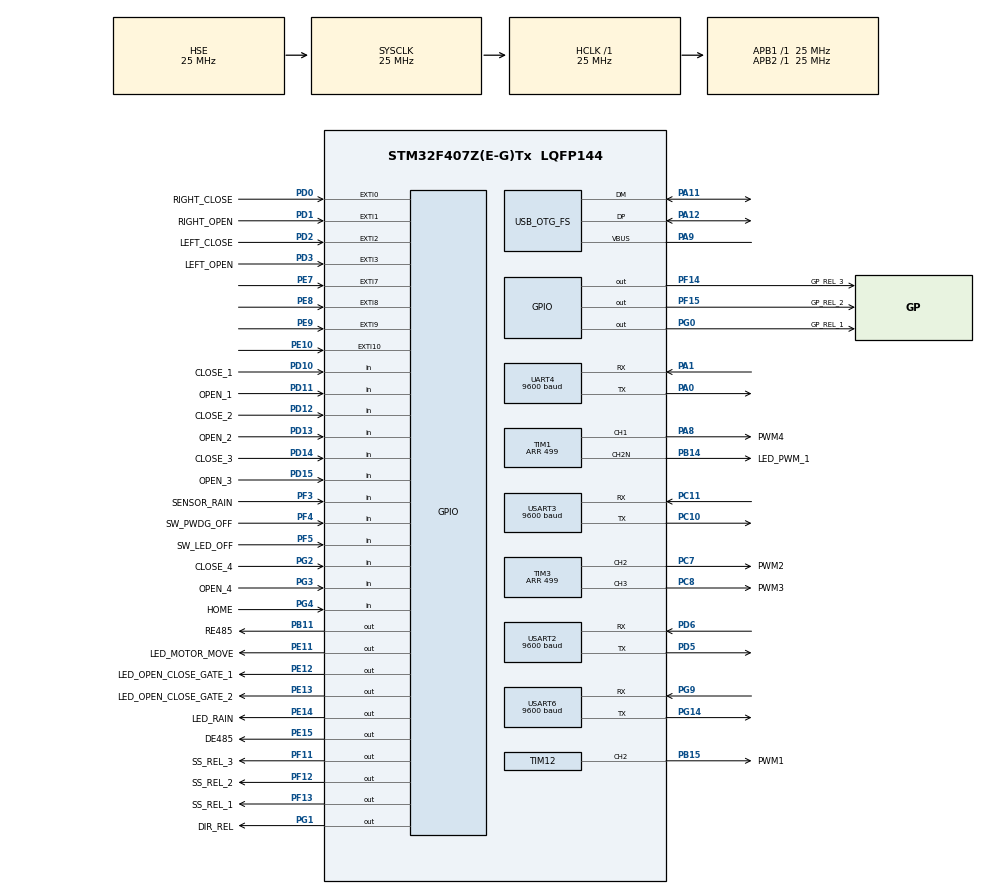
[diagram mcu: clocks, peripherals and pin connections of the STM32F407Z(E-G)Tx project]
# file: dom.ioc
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IWDG.Prescaler=IWDG_PRESCALER_128
Mcu.Family=STM32F4
Mcu.Name=STM32F407Z(E-G)Tx
Mcu.Package=LQFP144
NVIC.EXTI0_IRQn=true\:0\:0\:false\:false\:true\:true\:true\:true
NVIC.EXTI15_10_IRQn=true\:0\:0\:false\:false\:true\:true\:true\:true
NVIC.EXTI1_IRQn=true\:0\:0\:false\:false\:true\:true\:true\:true
NVIC.EXTI2_IRQn=true\:0\:0\:false\:false\:true\:true\:true\:true
NVIC.EXTI3_IRQn=true\:0\:0\:false\:false\:true\:true\:true\:true
NVIC.EXTI9_5_IRQn=true\:0\:0\:false\:false\:true\:true\:true\:true
NVIC.OTG_FS_IRQn=true\:0\:0\:false\:false\:true\:false\:true\:true
NVIC.PriorityGroup=NVIC_PRIORITYGROUP_4
NVIC.RCC_IRQn=true\:0\:0\:false\:false\:true\:true\:false\:true
NVIC.UART4_IRQn=true\:0\:0\:false\:false\:true\:true\:true\:true
NVIC.USART2_IRQn=true\:0\:0\:false\:false\:true\:true\:true\:true
NVIC.USART3_IRQn=true\:0\:0\:false\:false\:true\:true\:true\:true
NVIC.USART6_IRQn=true\:0\:0\:false\:false\:true\:true\:true\:true
PA0-WKUP.Mode=Asynchronous
PA0-WKUP.Signal=UART4_TX
PA1.Mode=Asynchronous
PA1.Signal=UART4_RX
PA11.Mode=Device_Only
PA11.Signal=USB_OTG_FS_DM
PA12.Mode=Device_Only
PA12.Signal=USB_OTG_FS_DP
PA8.GPIO_Label=PWM4
PA8.Signal=S_TIM1_CH1
PA9.Mode=Activate_VBUS
PA9.Signal=USB_OTG_FS_VBUS
PB11.GPIO_Label=RE485
PB11.Signal=GPIO_Output
PB14.GPIO_Label=LED_PWM_1
PB14.Mode=PWM Generation2 CH2N
PB14.Signal=TIM1_CH2N
PB15.GPIO_Label=PWM1
PB15.GPIO_Speed=GPIO_SPEED_FREQ_HIGH
PB15.Signal=S_TIM12_CH2
PC10.Mode=Asynchronous
PC10.Signal=USART3_TX
PC11.Mode=Asynchronous
PC11.Signal=USART3_RX
PC7.GPIO_Label=PWM2
PC7.Signal=S_TIM3_CH2
PC8.GPIO_Label=PWM3
PC8.Signal=S_TIM3_CH3
PD0.GPIO_Label=RIGHT_CLOSE
PD0.GPIO_ModeDefaultEXTI=GPIO_MODE_IT_FALLING
PD0.Signal=GPXTI0
PD1.GPIO_Label=RIGHT_OPEN
PD1.GPIO_ModeDefaultEXTI=GPIO_MODE_IT_FALLING
PD1.Signal=GPXTI1
PD10.GPIO_Label=CLOSE_1
PD10.Signal=GPIO_Input
PD11.GPIO_Label=OPEN_1
PD11.Signal=GPIO_Input
PD12.GPIO_Label=CLOSE_2
PD12.Signal=GPIO_Input
PD13.GPIO_Label=OPEN_2
PD13.Signal=GPIO_Input
PD14.GPIO_Label=CLOSE_3
PD14.Signal=GPIO_Input
PD15.GPIO_Label=OPEN_3
PD15.Signal=GPIO_Input
PD2.GPIO_Label=LEFT_CLOSE
PD2.GPIO_ModeDefaultEXTI=GPIO_MODE_IT_FALLING
PD2.Signal=GPXTI2
PD3.GPIO_Label=LEFT_OPEN
PD3.GPIO_ModeDefaultEXTI=GPIO_MODE_IT_FALLING
PD3.Signal=GPXTI3
PD5.Mode=Asynchronous
PD5.Signal=USART2_TX
PD6.Mode=Asynchronous
PD6.Signal=USART2_RX
PE10.GPIO_ModeDefaultEXTI=GPIO_MODE_IT_FALLING
PE10.Signal=GPXTI10
PE11.GPIO_Label=LED_MOTOR_MOVE
PE11.Signal=GPIO_Output
PE12.GPIO_Label=LED_OPEN_CLOSE_GATE_1
PE12.Signal=GPIO_Output
PE13.GPIO_Label=LED_OPEN_CLOSE_GATE_2
PE13.Signal=GPIO_Output
PE14.GPIO_Label=LED_RAIN
PE14.Signal=GPIO_Output
PE15.GPIO_Label=DE485
PE15.Signal=GPIO_Output
PE7.GPIO_ModeDefaultEXTI=GPIO_MODE_IT_FALLING
PE7.Signal=GPXTI7
PE8.GPIO_ModeDefaultEXTI=GPIO_MODE_IT_FALLING
PE8.Signal=GPXTI8
PE9.GPIO_ModeDefaultEXTI=GPIO_MODE_IT_FALLING
PE9.Signal=GPXTI9
PF11.GPIO_Label=SS_REL_3
PF11.Signal=GPIO_Output
PF12.GPIO_Label=SS_REL_2
PF12.Signal=GPIO_Output
PF13.GPIO_Label=SS_REL_1
PF13.Signal=GPIO_Output
PF14.GPIO_Label=GP_REL_3
PF14.PinState=GPIO_PIN_SET
PF14.Signal=GPIO_Output
PF15.GPIO_Label=GP_REL_2
PF15.PinState=GPIO_PIN_SET
PF15.Signal=GPIO_Output
PF3.GPIO_Label=SENSOR_RAIN
PF3.Signal=GPIO_Input
PF4.GPIO_Label=SW_PWDG_OFF
PF4.Signal=GPIO_Input
PF5.GPIO_Label=SW_LED_OFF
PF5.Signal=GPIO_Input
PG0.GPIO_Label=GP_REL_1
PG0.PinState=GPIO_PIN_SET
PG0.Signal=GPIO_Output
PG1.GPIO_Label=DIR_REL
PG1.PinState=GPIO_PIN_SET
PG1.Signal=GPIO_Output
PG14.Mode=Asynchronous
PG14.Signal=USART6_TX
PG2.GPIO_Label=CLOSE_4
PG2.Signal=GPIO_Input
PG3.GPIO_Label=OPEN_4
PG3.Signal=GPIO_Input
PG4.GPIO_Label=HOME
PG4.Signal=GPIO_Input
PG9.Mode=Asynchronous
PG9.Signal=USART6_RX
PH0-OSC_IN.Mode=HSE-External-Oscillator
PH0-OSC_IN.Signal=RCC_OSC_IN
PH1-OSC_OUT.Mode=HSE-External-Oscillator
PH1-OSC_OUT.Signal=RCC_OSC_OUT
ProjectManager.HeapSize=0x200
ProjectManager.StackSize=0x400
ProjectManager.TargetToolchain=STM32CubeIDE
RCC.48MHZClocksFreq_Value=48000000
RCC.AHBFreq_Value=25000000
RCC.APB1Freq_Value=25000000
RCC.APB1TimFreq_Value=25000000
RCC.APB2Freq_Value=25000000
RCC.APB2TimFreq_Value=25000000
RCC.CortexFreq_Value=25000000
RCC.HCLKFreq_Value=25000000
RCC.HSE_VALUE=25000000
RCC.HSI_VALUE=16000000
RCC.LSE_VALUE=32768
RCC.PLLM=15
RCC.PLLN=144
RCC.PLLQ=5
RCC.SYSCLKFreq_VALUE=25000000
RCC.SYSCLKSource=RCC_SYSCLKSOURCE_HSE
RCC.VCOOutputFreq_Value=240000000
SH.S_TIM12_CH2.0=TIM12_CH2,PWM Generation2 CH2
SH.S_TIM1_CH1.0=TIM1_CH1,PWM Generation1 CH1
SH.S_TIM3_CH2.0=TIM3_CH2,PWM Generation2 CH2
SH.S_TIM3_CH3.0=TIM3_CH3,PWM Generation3 CH3
TIM1.Channel-PWM\ Generation1\ CH1=TIM_CHANNEL_1
TIM1.Channel-PWM\ Generation2\ CH2N=TIM_CHANNEL_2
TIM1.OCNIdleState_2=TIM_OCNIDLESTATE_RESET
TIM1.Period=499
TIM1.Pulse-PWM\ Generation2\ CH2N=500
TIM12.Channel-PWM\ Generation2\ CH2=TIM_CHANNEL_2
TIM12.Period=499
TIM3.Channel-PWM\ Generation2\ CH2=TIM_CHANNEL_2
TIM3.Channel-PWM\ Generation3\ CH3=TIM_CHANNEL_3
TIM3.Period=499
UART4.BaudRate=9600
UART4.VirtualMode=Asynchronous
USART2.BaudRate=9600
USART2.VirtualMode=VM_ASYNC
USART3.BaudRate=9600
USART3.VirtualMode=VM_ASYNC
USART6.BaudRate=9600
USART6.VirtualMode=VM_ASYNC
USB_DEVICE.CLASS_NAME_FS=CDC
USB_DEVICE.VirtualMode-CDC_FS=Cdc
USB_DEVICE.VirtualModeFS=Cdc_FS
USB_OTG_FS.VirtualMode=Device_Only
VP_IWDG_VS_IWDG.Mode=IWDG_Activate
VP_USB_DEVICE_VS_USB_DEVICE_CDC_FS.Mode=CDC_FS
board=custom

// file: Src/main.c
/* USER CODE BEGIN Header */
/**
  ******************************************************************************
  * @file           : main.c
  * @brief          : Main program body
  ******************************************************************************
  * @attention
  *
  * Copyright (c) 2023 STMicroelectronics.
  * All rights reserved.
  *
  * This software is licensed under terms that can be found in the LICENSE file
  * in the root directory of this software component.
  * If no LICENSE file comes with this software, it is provided AS-IS.
  *
  ******************************************************************************
  */
/* USER CODE END Header */
#include "main.h"
#include "usb_device.h"

/* USER CODE BEGIN Includes */
#include "usbd_cdc_if.h"
#include "cli.h"
#include "dom.h"
#include "gate.h"
#include "timer.h"
#include "settings.h"
#include "fletcher.h"
#include "protocol.h"
#include "uart.h"

/* USER CODE END Includes */

IWDG_HandleTypeDef hiwdg;

TIM_HandleTypeDef htim1;
TIM_HandleTypeDef htim3;
TIM_HandleTypeDef htim12;

UART_HandleTypeDef huart4;
UART_HandleTypeDef huart2;
UART_HandleTypeDef huart3;
UART_HandleTypeDef huart6;

/* USER CODE BEGIN PV */

void re_de_485(uint8_t rede){
	if(rede){
		HAL_GPIO_WritePin(DE485_GPIO_Port, DE485_Pin, GPIO_PIN_SET);
		HAL_GPIO_WritePin(RE485_GPIO_Port, RE485_Pin, GPIO_PIN_SET);
	}
	else{
		HAL_GPIO_WritePin(DE485_GPIO_Port, DE485_Pin, GPIO_PIN_RESET);
		HAL_GPIO_WritePin(RE485_GPIO_Port, RE485_Pin, GPIO_PIN_RESET);
	}
}

xUart_tt uart2 = {
		.pxhuart = &huart2
};

xUart_tt uart3 = {
		.pxhuart = &huart3

};

xUart_tt uart4 = {
		.pxhuart = &huart4
};

xUart_tt uart6 = {
		.pxhuart = &huart6,
		.toggleReDe = re_de_485
};

/* USER CODE END PV */

void SystemClock_Config(void);
static void MX_GPIO_Init(void);
static void MX_TIM12_Init(void);
static void MX_TIM1_Init(void);
static void MX_TIM3_Init(void);
static void MX_IWDG_Init(void);
static void MX_UART4_Init(void);
static void MX_USART2_UART_Init(void);
static void MX_USART3_UART_Init(void);
static void MX_USART6_UART_Init(void);
/* USER CODE BEGIN PFP */

void on_pwdg_timeout(xTimer_tt * t , void * thisArg);

/* USER CODE END PFP */

/* USER CODE BEGIN 0 */

//char * str = "/h\r";

//void send_tst_str(uint8_t id){
//	uart_send(&uart2, str, strlen(str));
//}
uint8_t resetMotor[4][8] = {
		{0x02, 0x06, 0x81, 0x04, 0x3f, 0x00, 0x00, 0xbe},
		{0x02, 0x06, 0x81, 0x04, 0x3f, 0x00, 0x00, 0xbe},
		{0x02, 0x06, 0x81, 0x04, 0x3f, 0x00, 0x00, 0xbe},
		{0x02, 0x06, 0x81, 0x04, 0x3f, 0x00, 0x00, 0xbe}
};

void on_pwdg_timeout(xTimer_tt * t , void * thisArg){
	for(int i = 0; i < 4; ++i){
		uart_send(&uart6, resetMotor[i], 8);
	}
	cupol_open(GATE_1, 0);
	cupol_open(GATE_2, 0);
}

/* USER CODE END 0 */

int main(void)
{

  /* MCU Configuration--------------------------------------------------------*/

  /* Reset of all peripherals, Initializes the Flash interface and the Systick. */
  HAL_Init();

  /* Configure the system clock */
  SystemClock_Config();

  /* Initialize all configured peripherals */
  MX_GPIO_Init();
  MX_USB_DEVICE_Init();
  MX_TIM12_Init();
  MX_TIM1_Init();
  MX_TIM3_Init();
  MX_IWDG_Init();
  MX_UART4_Init();
  MX_USART2_UART_Init();
  MX_USART3_UART_Init();
  MX_USART6_UART_Init();
  /* USER CODE BEGIN 2 */

  HAL_TIMEx_PWMN_Start(&htim1, TIM_CHANNEL_2);

  HAL_TIM_PWM_Start(&htim1, TIM_CHANNEL_1);

  HAL_TIM_PWM_Start(&htim3, TIM_CHANNEL_2);
  HAL_TIM_PWM_Start(&htim3, TIM_CHANNEL_3);

  HAL_TIM_PWM_Start(&htim12, TIM_CHANNEL_2);

  dom_init();
  gate_init();

  cli_init(usb_send);
  usb_subscribe(cli_parser);

  protocol_init(usb_send, on_pwdg_timeout);
  usb_subscribe(protocol_parser);

  uart_init(&uart2);
  uart_init(&uart3);
  uart_init(&uart4);
  uart_init(&uart6);

  uart_subscribe(&uart2, protocol_parser_from_uart);
  uart_subscribe(&uart3, protocol_parser_from_uart);
  uart_subscribe(&uart4, protocol_parser_from_uart);
  uart_subscribe(&uart6, protocol_parser_from_uart);

  uart_subscribe(&uart2, cli_parser_from_uart);
  uart_subscribe(&uart3, cli_parser_from_uart);
  uart_subscribe(&uart4, cli_parser_from_uart);
  uart_subscribe(&uart6, cli_parser_from_uart);

  //uart_send(&uart2, str, strlen(str));

  //dom_btn_subscribe(send_tst_str);
  /* USER CODE END 2 */

  /* Infinite loop */
  while (1)
  {

    /* USER CODE BEGIN 3 */
	HAL_IWDG_Refresh(&hiwdg);  //todo iwdg

	timers_poll();
	usb_poll();
	uart_poll();
	dom_poll();
	cupol_poll();

  }
  /* USER CODE END 3 */
}

void SystemClock_Config(void)
{
  RCC_OscInitTypeDef RCC_OscInitStruct = {0};
  RCC_ClkInitTypeDef RCC_ClkInitStruct = {0};

  /** Configure the main internal regulator output voltage
  */
  __HAL_RCC_PWR_CLK_ENABLE();
  __HAL_PWR_VOLTAGESCALING_CONFIG(PWR_REGULATOR_VOLTAGE_SCALE1);

  /** Initializes the RCC Oscillators according to the specified parameters
  * in the RCC_OscInitTypeDef structure.
  */
  RCC_OscInitStruct.OscillatorType = RCC_OSCILLATORTYPE_LSI|RCC_OSCILLATORTYPE_HSE;
  RCC_OscInitStruct.HSEState = RCC_HSE_ON;
  RCC_OscInitStruct.LSIState = RCC_LSI_ON;
  RCC_OscInitStruct.PLL.PLLState = RCC_PLL_ON;
  RCC_OscInitStruct.PLL.PLLSource = RCC_PLLSOURCE_HSE;
  RCC_OscInitStruct.PLL.PLLM = 15;
  RCC_OscInitStruct.PLL.PLLN = 144;
  RCC_OscInitStruct.PLL.PLLP = RCC_PLLP_DIV2;
  RCC_OscInitStruct.PLL.PLLQ = 5;
  if (HAL_RCC_OscConfig(&RCC_OscInitStruct) != HAL_OK)
  {
    Error_Handler();
  }

  /** Initializes the CPU, AHB and APB buses clocks
  */
  RCC_ClkInitStruct.ClockType = RCC_CLOCKTYPE_HCLK|RCC_CLOCKTYPE_SYSCLK
                              |RCC_CLOCKTYPE_PCLK1|RCC_CLOCKTYPE_PCLK2;
  RCC_ClkInitStruct.SYSCLKSource = RCC_SYSCLKSOURCE_HSE;
  RCC_ClkInitStruct.AHBCLKDivider = RCC_SYSCLK_DIV1;
  RCC_ClkInitStruct.APB1CLKDivider = RCC_HCLK_DIV1;
  RCC_ClkInitStruct.APB2CLKDivider = RCC_HCLK_DIV1;

  if (HAL_RCC_ClockConfig(&RCC_ClkInitStruct, FLASH_LATENCY_0) != HAL_OK)
  {
    Error_Handler();
  }
}

static void MX_IWDG_Init(void)
{

  hiwdg.Instance = IWDG;
  hiwdg.Init.Prescaler = IWDG_PRESCALER_128;
  hiwdg.Init.Reload = 4095;
  if (HAL_IWDG_Init(&hiwdg) != HAL_OK)
  {
    Error_Handler();
  }

}

static void MX_TIM1_Init(void)
{

  TIM_MasterConfigTypeDef sMasterConfig = {0};
  TIM_OC_InitTypeDef sConfigOC = {0};
  TIM_BreakDeadTimeConfigTypeDef sBreakDeadTimeConfig = {0};

  htim1.Instance = TIM1;
  htim1.Init.Prescaler = 0;
  htim1.Init.CounterMode = TIM_COUNTERMODE_UP;
  htim1.Init.Period = 499;
  htim1.Init.ClockDivision = TIM_CLOCKDIVISION_DIV1;
  htim1.Init.RepetitionCounter = 0;
  htim1.Init.AutoReloadPreload = TIM_AUTORELOAD_PRELOAD_DISABLE;
  if (HAL_TIM_PWM_Init(&htim1) != HAL_OK)
  {
    Error_Handler();
  }
  sMasterConfig.MasterOutputTrigger = TIM_TRGO_RESET;
  sMasterConfig.MasterSlaveMode = TIM_MASTERSLAVEMODE_DISABLE;
  if (HAL_TIMEx_MasterConfigSynchronization(&htim1, &sMasterConfig) != HAL_OK)
  {
    Error_Handler();
  }
  sConfigOC.OCMode = TIM_OCMODE_PWM1;
  sConfigOC.Pulse = 0;
  sConfigOC.OCPolarity = TIM_OCPOLARITY_HIGH;
  sConfigOC.OCNPolarity = TIM_OCNPOLARITY_HIGH;
  sConfigOC.OCFastMode = TIM_OCFAST_DISABLE;
  sConfigOC.OCIdleState = TIM_OCIDLESTATE_RESET;
  sConfigOC.OCNIdleState = TIM_OCNIDLESTATE_RESET;
  if (HAL_TIM_PWM_ConfigChannel(&htim1, &sConfigOC, TIM_CHANNEL_1) != HAL_OK)
  {
    Error_Handler();
  }
  sConfigOC.Pulse = 500;
  if (HAL_TIM_PWM_ConfigChannel(&htim1, &sConfigOC, TIM_CHANNEL_2) != HAL_OK)
  {
    Error_Handler();
  }
  sBreakDeadTimeConfig.OffStateRunMode = TIM_OSSR_DISABLE;
  sBreakDeadTimeConfig.OffStateIDLEMode = TIM_OSSI_DISABLE;
  sBreakDeadTimeConfig.LockLevel = TIM_LOCKLEVEL_OFF;
  sBreakDeadTimeConfig.DeadTime = 0;
  sBreakDeadTimeConfig.BreakState = TIM_BREAK_DISABLE;
  sBreakDeadTimeConfig.BreakPolarity = TIM_BREAKPOLARITY_HIGH;
  sBreakDeadTimeConfig.AutomaticOutput = TIM_AUTOMATICOUTPUT_DISABLE;
  if (HAL_TIMEx_ConfigBreakDeadTime(&htim1, &sBreakDeadTimeConfig) != HAL_OK)
  {
    Error_Handler();
  }
  HAL_TIM_MspPostInit(&htim1);

}

static void MX_TIM3_Init(void)
{

  TIM_MasterConfigTypeDef sMasterConfig = {0};
  TIM_OC_InitTypeDef sConfigOC = {0};

  htim3.Instance = TIM3;
  htim3.Init.Prescaler = 0;
  htim3.Init.CounterMode = TIM_COUNTERMODE_UP;
  htim3.Init.Period = 499;
  htim3.Init.ClockDivision = TIM_CLOCKDIVISION_DIV1;
  htim3.Init.AutoReloadPreload = TIM_AUTORELOAD_PRELOAD_DISABLE;
  if (HAL_TIM_PWM_Init(&htim3) != HAL_OK)
  {
    Error_Handler();
  }
  sMasterConfig.MasterOutputTrigger = TIM_TRGO_RESET;
  sMasterConfig.MasterSlaveMode = TIM_MASTERSLAVEMODE_DISABLE;
  if (HAL_TIMEx_MasterConfigSynchronization(&htim3, &sMasterConfig) != HAL_OK)
  {
    Error_Handler();
  }
  sConfigOC.OCMode = TIM_OCMODE_PWM1;
  sConfigOC.Pulse = 0;
  sConfigOC.OCPolarity = TIM_OCPOLARITY_HIGH;
  sConfigOC.OCFastMode = TIM_OCFAST_DISABLE;
  if (HAL_TIM_PWM_ConfigChannel(&htim3, &sConfigOC, TIM_CHANNEL_2) != HAL_OK)
  {
    Error_Handler();
  }
  if (HAL_TIM_PWM_ConfigChannel(&htim3, &sConfigOC, TIM_CHANNEL_3) != HAL_OK)
  {
    Error_Handler();
  }
  HAL_TIM_MspPostInit(&htim3);

}

static void MX_TIM12_Init(void)
{

  TIM_OC_InitTypeDef sConfigOC = {0};

  htim12.Instance = TIM12;
  htim12.Init.Prescaler = 0;
  htim12.Init.CounterMode = TIM_COUNTERMODE_UP;
  htim12.Init.Period = 499;
  htim12.Init.ClockDivision = TIM_CLOCKDIVISION_DIV1;
  htim12.Init.AutoReloadPreload = TIM_AUTORELOAD_PRELOAD_DISABLE;
  if (HAL_TIM_PWM_Init(&htim12) != HAL_OK)
  {
    Error_Handler();
  }
  sConfigOC.OCMode = TIM_OCMODE_PWM1;
  sConfigOC.Pulse = 0;
  sConfigOC.OCPolarity = TIM_OCPOLARITY_HIGH;
  sConfigOC.OCFastMode = TIM_OCFAST_DISABLE;
  if (HAL_TIM_PWM_ConfigChannel(&htim12, &sConfigOC, TIM_CHANNEL_2) != HAL_OK)
  {
    Error_Handler();
  }
  HAL_TIM_MspPostInit(&htim12);

}

static void MX_UART4_Init(void)
{

  huart4.Instance = UART4;
  huart4.Init.BaudRate = 9600;
  huart4.Init.WordLength = UART_WORDLENGTH_8B;
  huart4.Init.StopBits = UART_STOPBITS_1;
  huart4.Init.Parity = UART_PARITY_NONE;
  huart4.Init.Mode = UART_MODE_TX_RX;
  huart4.Init.HwFlowCtl = UART_HWCONTROL_NONE;
  huart4.Init.OverSampling = UART_OVERSAMPLING_16;
  if (HAL_UART_Init(&huart4) != HAL_OK)
  {
    Error_Handler();
  }

}

static void MX_USART2_UART_Init(void)
{

  huart2.Instance = USART2;
  huart2.Init.BaudRate = 9600;
  huart2.Init.WordLength = UART_WORDLENGTH_8B;
  huart2.Init.StopBits = UART_STOPBITS_1;
  huart2.Init.Parity = UART_PARITY_NONE;
  huart2.Init.Mode = UART_MODE_TX_RX;
  huart2.Init.HwFlowCtl = UART_HWCONTROL_NONE;
  huart2.Init.OverSampling = UART_OVERSAMPLING_16;
  if (HAL_UART_Init(&huart2) != HAL_OK)
  {
    Error_Handler();
  }

}

static void MX_USART3_UART_Init(void)
{

  huart3.Instance = USART3;
  huart3.Init.BaudRate = 9600;
  huart3.Init.WordLength = UART_WORDLENGTH_8B;
  huart3.Init.StopBits = UART_STOPBITS_1;
  huart3.Init.Parity = UART_PARITY_NONE;
  huart3.Init.Mode = UART_MODE_TX_RX;
  huart3.Init.HwFlowCtl = UART_HWCONTROL_NONE;
  huart3.Init.OverSampling = UART_OVERSAMPLING_16;
  if (HAL_UART_Init(&huart3) != HAL_OK)
  {
    Error_Handler();
  }

}

static void MX_USART6_UART_Init(void)
{

  huart6.Instance = USART6;
  huart6.Init.BaudRate = 9600;
  huart6.Init.WordLength = UART_WORDLENGTH_8B;
  huart6.Init.StopBits = UART_STOPBITS_1;
  huart6.Init.Parity = UART_PARITY_NONE;
  huart6.Init.Mode = UART_MODE_TX_RX;
  huart6.Init.HwFlowCtl = UART_HWCONTROL_NONE;
  huart6.Init.OverSampling = UART_OVERSAMPLING_16;
  if (HAL_UART_Init(&huart6) != HAL_OK)
  {
    Error_Handler();
  }

}

static void MX_GPIO_Init(void)
{
  GPIO_InitTypeDef GPIO_InitStruct = {0};

  /* GPIO Ports Clock Enable */
  __HAL_RCC_GPIOF_CLK_ENABLE();
  __HAL_RCC_GPIOH_CLK_ENABLE();
  __HAL_RCC_GPIOA_CLK_ENABLE();
  __HAL_RCC_GPIOG_CLK_ENABLE();
  __HAL_RCC_GPIOE_CLK_ENABLE();
  __HAL_RCC_GPIOB_CLK_ENABLE();
  __HAL_RCC_GPIOD_CLK_ENABLE();
  __HAL_RCC_GPIOC_CLK_ENABLE();

  /*Configure GPIO pin Output Level */
  HAL_GPIO_WritePin(GPIOF, SS_REL_3_Pin|SS_REL_2_Pin|SS_REL_1_Pin, GPIO_PIN_RESET);

  /*Configure GPIO pin Output Level */
  HAL_GPIO_WritePin(GPIOF, GP_REL_3_Pin|GP_REL_2_Pin, GPIO_PIN_SET);

  /*Configure GPIO pin Output Level */
  HAL_GPIO_WritePin(GPIOG, GP_REL_1_Pin|DIR_REL_Pin, GPIO_PIN_SET);

  /*Configure GPIO pin Output Level */
  HAL_GPIO_WritePin(GPIOE, LED_MOTOR_MOVE_Pin|LED_OPEN_CLOSE_GATE_1_Pin|LED_OPEN_CLOSE_GATE_2_Pin|LED_RAIN_Pin
                          |DE485_Pin, GPIO_PIN_RESET);

  /*Configure GPIO pin Output Level */
  HAL_GPIO_WritePin(RE485_GPIO_Port, RE485_Pin, GPIO_PIN_RESET);

  /*Configure GPIO pins : SENSOR_RAIN_Pin SW_PWDG_OFF_Pin SW_LED_OFF_Pin */
  GPIO_InitStruct.Pin = SENSOR_RAIN_Pin|SW_PWDG_OFF_Pin|SW_LED_OFF_Pin;
  GPIO_InitStruct.Mode = GPIO_MODE_INPUT;
  GPIO_InitStruct.Pull = GPIO_NOPULL;
  HAL_GPIO_Init(GPIOF, &GPIO_InitStruct);

  /*Configure GPIO pins : SS_REL_3_Pin SS_REL_2_Pin SS_REL_1_Pin GP_REL_3_Pin
                           GP_REL_2_Pin */
  GPIO_InitStruct.Pin = SS_REL_3_Pin|SS_REL_2_Pin|SS_REL_1_Pin|GP_REL_3_Pin
                          |GP_REL_2_Pin;
  GPIO_InitStruct.Mode = GPIO_MODE_OUTPUT_PP;
  GPIO_InitStruct.Pull = GPIO_NOPULL;
  GPIO_InitStruct.Speed = GPIO_SPEED_FREQ_LOW;
  HAL_GPIO_Init(GPIOF, &GPIO_InitStruct);

  /*Configure GPIO pins : GP_REL_1_Pin DIR_REL_Pin */
  GPIO_InitStruct.Pin = GP_REL_1_Pin|DIR_REL_Pin;
  GPIO_InitStruct.Mode = GPIO_MODE_OUTPUT_PP;
  GPIO_InitStruct.Pull = GPIO_NOPULL;
  GPIO_InitStruct.Speed = GPIO_SPEED_FREQ_LOW;
  HAL_GPIO_Init(GPIOG, &GPIO_InitStruct);

  /*Configure GPIO pins : PE7 PE8 PE9 PE10 */
  GPIO_InitStruct.Pin = GPIO_PIN_7|GPIO_PIN_8|GPIO_PIN_9|GPIO_PIN_10;
  GPIO_InitStruct.Mode = GPIO_MODE_IT_FALLING;
  GPIO_InitStruct.Pull = GPIO_NOPULL;
  HAL_GPIO_Init(GPIOE, &GPIO_InitStruct);

  /*Configure GPIO pins : LED_MOTOR_MOVE_Pin LED_OPEN_CLOSE_GATE_1_Pin LED_OPEN_CLOSE_GATE_2_Pin LED_RAIN_Pin
                           DE485_Pin */
  GPIO_InitStruct.Pin = LED_MOTOR_MOVE_Pin|LED_OPEN_CLOSE_GATE_1_Pin|LED_OPEN_CLOSE_GATE_2_Pin|LED_RAIN_Pin
                          |DE485_Pin;
  GPIO_InitStruct.Mode = GPIO_MODE_OUTPUT_PP;
  GPIO_InitStruct.Pull = GPIO_NOPULL;
  GPIO_InitStruct.Speed = GPIO_SPEED_FREQ_LOW;
  HAL_GPIO_Init(GPIOE, &GPIO_InitStruct);

  /*Configure GPIO pin : RE485_Pin */
  GPIO_InitStruct.Pin = RE485_Pin;
  GPIO_InitStruct.Mode = GPIO_MODE_OUTPUT_PP;
  GPIO_InitStruct.Pull = GPIO_NOPULL;
  GPIO_InitStruct.Speed = GPIO_SPEED_FREQ_LOW;
  HAL_GPIO_Init(RE485_GPIO_Port, &GPIO_InitStruct);

  /*Configure GPIO pins : CLOSE_1_Pin OPEN_1_Pin CLOSE_2_Pin OPEN_2_Pin
                           CLOSE_3_Pin OPEN_3_Pin */
  GPIO_InitStruct.Pin = CLOSE_1_Pin|OPEN_1_Pin|CLOSE_2_Pin|OPEN_2_Pin
                          |CLOSE_3_Pin|OPEN_3_Pin;
  GPIO_InitStruct.Mode = GPIO_MODE_INPUT;
  GPIO_InitStruct.Pull = GPIO_NOPULL;
  HAL_GPIO_Init(GPIOD, &GPIO_InitStruct);

  /*Configure GPIO pins : CLOSE_4_Pin OPEN_4_Pin HOME_Pin */
  GPIO_InitStruct.Pin = CLOSE_4_Pin|OPEN_4_Pin|HOME_Pin;
  GPIO_InitStruct.Mode = GPIO_MODE_INPUT;
  GPIO_InitStruct.Pull = GPIO_NOPULL;
  HAL_GPIO_Init(GPIOG, &GPIO_InitStruct);

  /*Configure GPIO pins : RIGHT_CLOSE_Pin RIGHT_OPEN_Pin LEFT_CLOSE_Pin LEFT_OPEN_Pin */
  GPIO_InitStruct.Pin = RIGHT_CLOSE_Pin|RIGHT_OPEN_Pin|LEFT_CLOSE_Pin|LEFT_OPEN_Pin;
  GPIO_InitStruct.Mode = GPIO_MODE_IT_FALLING;
  GPIO_InitStruct.Pull = GPIO_NOPULL;
  HAL_GPIO_Init(GPIOD, &GPIO_InitStruct);

  /* EXTI interrupt init*/
  HAL_NVIC_SetPriority(EXTI0_IRQn, 0, 0);
  HAL_NVIC_EnableIRQ(EXTI0_IRQn);

  HAL_NVIC_SetPriority(EXTI1_IRQn, 0, 0);
  HAL_NVIC_EnableIRQ(EXTI1_IRQn);

  HAL_NVIC_SetPriority(EXTI2_IRQn, 0, 0);
  HAL_NVIC_EnableIRQ(EXTI2_IRQn);

  HAL_NVIC_SetPriority(EXTI3_IRQn, 0, 0);
  HAL_NVIC_EnableIRQ(EXTI3_IRQn);

  HAL_NVIC_SetPriority(EXTI9_5_IRQn, 0, 0);
  HAL_NVIC_EnableIRQ(EXTI9_5_IRQn);

  HAL_NVIC_SetPriority(EXTI15_10_IRQn, 0, 0);
  HAL_NVIC_EnableIRQ(EXTI15_10_IRQn);

}

void Error_Handler(void)
{
  __disable_irq();
  while (1)
  {
  }
}
